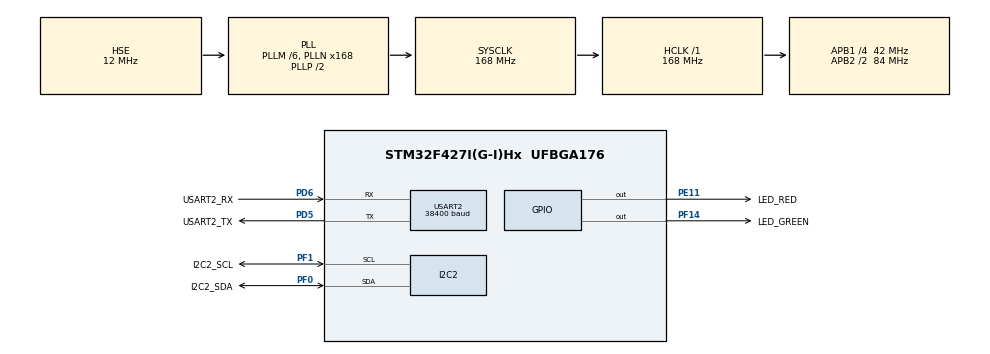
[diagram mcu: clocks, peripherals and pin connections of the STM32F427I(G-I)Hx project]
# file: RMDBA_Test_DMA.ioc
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Dma.Request0=USART2_RX
Dma.Request1=USART2_TX
Dma.USART2_RX.0.Direction=DMA_PERIPH_TO_MEMORY
Dma.USART2_RX.0.FIFOMode=DMA_FIFOMODE_DISABLE
Dma.USART2_RX.0.Instance=DMA1_Stream5
Dma.USART2_RX.0.MemDataAlignment=DMA_MDATAALIGN_BYTE
Dma.USART2_RX.0.MemInc=DMA_MINC_ENABLE
Dma.USART2_RX.0.Mode=DMA_NORMAL
Dma.USART2_RX.0.PeriphDataAlignment=DMA_PDATAALIGN_BYTE
Dma.USART2_RX.0.PeriphInc=DMA_PINC_DISABLE
Dma.USART2_RX.0.Priority=DMA_PRIORITY_LOW
Dma.USART2_TX.1.Direction=DMA_MEMORY_TO_PERIPH
Dma.USART2_TX.1.FIFOMode=DMA_FIFOMODE_DISABLE
Dma.USART2_TX.1.Instance=DMA1_Stream6
Dma.USART2_TX.1.MemDataAlignment=DMA_MDATAALIGN_BYTE
Dma.USART2_TX.1.MemInc=DMA_MINC_ENABLE
Dma.USART2_TX.1.Mode=DMA_NORMAL
Dma.USART2_TX.1.PeriphDataAlignment=DMA_PDATAALIGN_BYTE
Dma.USART2_TX.1.PeriphInc=DMA_PINC_DISABLE
Dma.USART2_TX.1.Priority=DMA_PRIORITY_LOW
I2C2.Analog_Filter=I2C_ANALOGFILTER_DISABLE
I2C2.I2C_Mode=I2C_Standard
Mcu.Family=STM32F4
Mcu.Name=STM32F427I(G-I)Hx
Mcu.Package=UFBGA176
NVIC.DMA1_Stream5_IRQn=true\:0\:0\:false\:false\:true\:false\:true
NVIC.DMA1_Stream6_IRQn=true\:0\:0\:false\:false\:true\:false\:true
NVIC.PriorityGroup=NVIC_PRIORITYGROUP_4
NVIC.TIM8_BRK_TIM12_IRQn=true\:0\:0\:false\:false\:true\:true\:true
PA0/WKUP.GPIO_Label=USART2_CTS
PA0/WKUP.Signal=USART2_CTS
PA1.GPIO_Label=USART2_RTS
PA1.Signal=USART2_RTS
PD5.GPIO_Label=USART2_TX
PD5.Mode=Asynchronous
PD5.Signal=USART2_TX
PD6.GPIO_Label=USART2_RX
PD6.Mode=Asynchronous
PD6.Signal=USART2_RX
PE11.GPIO_Label=LED_RED
PE11.PinState=GPIO_PIN_SET
PE11.Signal=GPIO_Output
PF0.GPIO_Label=I2C2_SDA
PF0.GPIO_PuPdOD=GPIO_NOPULL
PF0.Mode=I2C
PF0.Signal=I2C2_SDA
PF1.GPIO_Label=I2C2_SCL
PF1.GPIO_PuPdOD=GPIO_NOPULL
PF1.Mode=I2C
PF1.Signal=I2C2_SCL
PF14.GPIO_Label=LED_GREEN
PF14.PinState=GPIO_PIN_SET
PF14.Signal=GPIO_Output
PH0/OSC_IN.Mode=HSE-External-Oscillator
PH0/OSC_IN.Signal=RCC_OSC_IN
PH1/OSC_OUT.Mode=HSE-External-Oscillator
PH1/OSC_OUT.Signal=RCC_OSC_OUT
ProjectManager.HeapSize=0x200
ProjectManager.StackSize=0x400
ProjectManager.TargetToolchain=STM32CubeIDE
RCC.48MHZClocksFreq_Value=84000000
RCC.AHBFreq_Value=168000000
RCC.APB1CLKDivider=RCC_HCLK_DIV4
RCC.APB1Freq_Value=42000000
RCC.APB1TimFreq_Value=84000000
RCC.APB2CLKDivider=RCC_HCLK_DIV2
RCC.APB2Freq_Value=84000000
RCC.APB2TimFreq_Value=168000000
RCC.CortexFreq_Value=168000000
RCC.HCLKFreq_Value=168000000
RCC.HSE_VALUE=12000000
RCC.HSI_VALUE=16000000
RCC.LSE_VALUE=32768
RCC.PLLM=6
RCC.PLLN=168
RCC.PLLSourceVirtual=RCC_PLLSOURCE_HSE
RCC.SYSCLKFreq_VALUE=168000000
RCC.SYSCLKSource=RCC_SYSCLKSOURCE_PLLCLK
RCC.VCOOutputFreq_Value=336000000
TIM12.Period=60000
TIM12.Prescaler=140
USART2.BaudRate=38400
USART2.VirtualMode=VM_ASYNC
VP_TIM12_VS_ClockSourceINT.Mode=Internal
board=custom

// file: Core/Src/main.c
/* USER CODE BEGIN Header */
/**
  ******************************************************************************
  * @file           : main.c
  * @brief          : Main program body
  ******************************************************************************
  * @attention
  *
  * <h2><center>&copy; Copyright (c) 2020 STMicroelectronics.
  * All rights reserved.</center></h2>
  *
  * This software component is licensed by ST under BSD 3-Clause license,
  * the "License"; You may not use this file except in compliance with the
  * License. You may obtain a copy of the License at:
  *                        opensource.org/licenses/BSD-3-Clause
  *
  ******************************************************************************
  */
/* USER CODE END Header */

#include "main.h"
#include "dma.h"
#include "i2c.h"
#include "tim.h"
#include "usart.h"
#include "gpio.h"

/* USER CODE BEGIN PD */
#define FILE_SIZE 894
#define PIC_I2C_ADDR (0x01 << 1)
#define PIC_QUEUE_SIZE 64
/* USER CODE END PD */

/* USER CODE BEGIN PV */
uint8_t debug_data[FILE_SIZE];
/* USER CODE END PV */

void SystemClock_Config(void);

/* USER CODE BEGIN 0 */
/**
  * @brief	Send some info over I2C
  */
void send_i2c(TIM_HandleTypeDef* htim) {
	uint8_t tx_size = PIC_QUEUE_SIZE;
	static uint8_t* data_ptr = &debug_data[0];

	if(debug_data + FILE_SIZE - data_ptr < PIC_QUEUE_SIZE)
		tx_size = debug_data + FILE_SIZE - data_ptr;

	HAL_I2C_Master_Transmit(&hi2c2, PIC_I2C_ADDR, data_ptr, tx_size, 1000);

	data_ptr += tx_size;

	if(data_ptr >= debug_data + FILE_SIZE) {
		data_ptr = &debug_data[0];
		HAL_TIM_Base_Stop_IT(htim);
		HAL_UART_Receive_DMA(&huart2, debug_data, FILE_SIZE);
	}

	return;
}
/* USER CODE END 0 */

int main(void)
{

  /* MCU Configuration--------------------------------------------------------*/

  /* Reset of all peripherals, Initializes the Flash interface and the Systick. */
  HAL_Init();

  /* Configure the system clock */
  SystemClock_Config();

  /* Initialize all configured peripherals */
  MX_GPIO_Init();
  MX_DMA_Init();
  MX_I2C2_Init();
  MX_TIM12_Init();
  MX_USART2_UART_Init();
  /* USER CODE BEGIN 2 */
  HAL_UART_Receive_DMA(&huart2, debug_data, FILE_SIZE);

  /* USER CODE END 2 */

  /* Infinite loop */
  while (1)
  {

    /* USER CODE BEGIN 3 */
	  HAL_GPIO_TogglePin(LED_GREEN_GPIO_Port, LED_GREEN_Pin);

	  HAL_Delay(1000);
  }
  /* USER CODE END 3 */
}

void SystemClock_Config(void)
{
  RCC_OscInitTypeDef RCC_OscInitStruct = {0};
  RCC_ClkInitTypeDef RCC_ClkInitStruct = {0};

  /** Configure the main internal regulator output voltage
  */
  __HAL_RCC_PWR_CLK_ENABLE();
  __HAL_PWR_VOLTAGESCALING_CONFIG(PWR_REGULATOR_VOLTAGE_SCALE1);
  /** Initializes the CPU, AHB and APB busses clocks
  */
  RCC_OscInitStruct.OscillatorType = RCC_OSCILLATORTYPE_HSE;
  RCC_OscInitStruct.HSEState = RCC_HSE_ON;
  RCC_OscInitStruct.PLL.PLLState = RCC_PLL_ON;
  RCC_OscInitStruct.PLL.PLLSource = RCC_PLLSOURCE_HSE;
  RCC_OscInitStruct.PLL.PLLM = 6;
  RCC_OscInitStruct.PLL.PLLN = 168;
  RCC_OscInitStruct.PLL.PLLP = RCC_PLLP_DIV2;
  RCC_OscInitStruct.PLL.PLLQ = 4;
  if (HAL_RCC_OscConfig(&RCC_OscInitStruct) != HAL_OK)
  {
    Error_Handler();
  }
  /** Initializes the CPU, AHB and APB busses clocks
  */
  RCC_ClkInitStruct.ClockType = RCC_CLOCKTYPE_HCLK|RCC_CLOCKTYPE_SYSCLK
                              |RCC_CLOCKTYPE_PCLK1|RCC_CLOCKTYPE_PCLK2;
  RCC_ClkInitStruct.SYSCLKSource = RCC_SYSCLKSOURCE_PLLCLK;
  RCC_ClkInitStruct.AHBCLKDivider = RCC_SYSCLK_DIV1;
  RCC_ClkInitStruct.APB1CLKDivider = RCC_HCLK_DIV4;
  RCC_ClkInitStruct.APB2CLKDivider = RCC_HCLK_DIV2;

  if (HAL_RCC_ClockConfig(&RCC_ClkInitStruct, FLASH_LATENCY_5) != HAL_OK)
  {
    Error_Handler();
  }
}

void Error_Handler(void)
{
}

/************************ (C) COPYRIGHT STMicroelectronics *****END OF FILE****/
